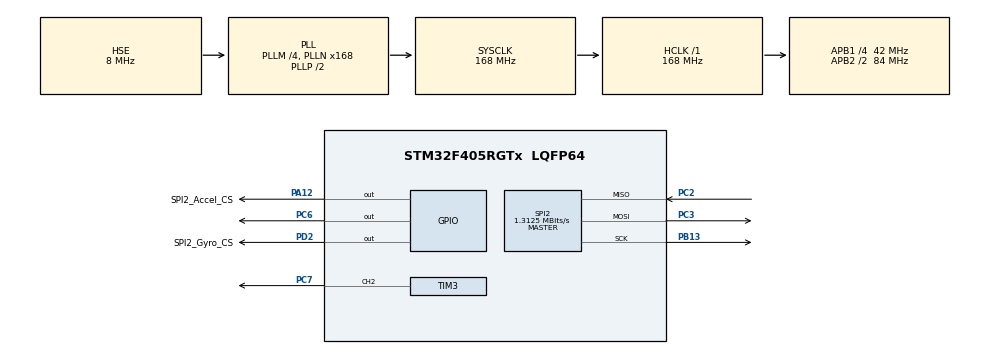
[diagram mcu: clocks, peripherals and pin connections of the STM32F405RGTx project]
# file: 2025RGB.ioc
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Dma.Request0=TIM3_CH2
Dma.Request1=SPI2_RX
Dma.Request2=SPI2_TX
Dma.SPI2_RX.1.Direction=DMA_PERIPH_TO_MEMORY
Dma.SPI2_RX.1.FIFOMode=DMA_FIFOMODE_DISABLE
Dma.SPI2_RX.1.Instance=DMA1_Stream3
Dma.SPI2_RX.1.MemDataAlignment=DMA_MDATAALIGN_BYTE
Dma.SPI2_RX.1.MemInc=DMA_MINC_ENABLE
Dma.SPI2_RX.1.Mode=DMA_NORMAL
Dma.SPI2_RX.1.PeriphDataAlignment=DMA_PDATAALIGN_BYTE
Dma.SPI2_RX.1.PeriphInc=DMA_PINC_DISABLE
Dma.SPI2_RX.1.Priority=DMA_PRIORITY_LOW
Dma.SPI2_TX.2.Direction=DMA_MEMORY_TO_PERIPH
Dma.SPI2_TX.2.FIFOMode=DMA_FIFOMODE_DISABLE
Dma.SPI2_TX.2.Instance=DMA1_Stream4
Dma.SPI2_TX.2.MemDataAlignment=DMA_MDATAALIGN_BYTE
Dma.SPI2_TX.2.MemInc=DMA_MINC_ENABLE
Dma.SPI2_TX.2.Mode=DMA_NORMAL
Dma.SPI2_TX.2.PeriphDataAlignment=DMA_PDATAALIGN_BYTE
Dma.SPI2_TX.2.PeriphInc=DMA_PINC_DISABLE
Dma.SPI2_TX.2.Priority=DMA_PRIORITY_LOW
Dma.TIM3_CH2.0.Direction=DMA_MEMORY_TO_PERIPH
Dma.TIM3_CH2.0.FIFOMode=DMA_FIFOMODE_DISABLE
Dma.TIM3_CH2.0.Instance=DMA1_Stream5
Dma.TIM3_CH2.0.MemDataAlignment=DMA_MDATAALIGN_WORD
Dma.TIM3_CH2.0.MemInc=DMA_MINC_ENABLE
Dma.TIM3_CH2.0.Mode=DMA_NORMAL
Dma.TIM3_CH2.0.PeriphDataAlignment=DMA_PDATAALIGN_WORD
Dma.TIM3_CH2.0.PeriphInc=DMA_PINC_DISABLE
Dma.TIM3_CH2.0.Priority=DMA_PRIORITY_MEDIUM
FREERTOS.Tasks01=defaultTask,24,128,StartDefaultTask,Default,NULL,Dynamic,NULL,NULL;myTask02,24,128,StartTask02,Default,NULL,Dynamic,NULL,NULL
Mcu.Family=STM32F4
Mcu.Name=STM32F405RGTx
Mcu.Package=LQFP64
NVIC.DMA1_Stream3_IRQn=true\:5\:0\:false\:false\:true\:true\:false\:true\:true
NVIC.DMA1_Stream4_IRQn=true\:5\:0\:false\:false\:true\:true\:false\:true\:true
NVIC.DMA1_Stream5_IRQn=true\:5\:0\:false\:false\:true\:true\:false\:true\:true
NVIC.PriorityGroup=NVIC_PRIORITYGROUP_4
NVIC.SPI2_IRQn=true\:5\:0\:false\:false\:true\:true\:true\:true\:true
NVIC.TIM3_IRQn=true\:5\:0\:false\:false\:true\:true\:true\:true\:true
NVIC.TIM8_TRG_COM_TIM14_IRQn=true\:15\:0\:false\:false\:true\:false\:false\:true\:true
NVIC.TimeBase=TIM8_TRG_COM_TIM14_IRQn
NVIC.TimeBaseIP=TIM14
PA12.GPIO_Label=SPI2_Accel_CS
PA12.Signal=GPIO_Output
PA13.Mode=Serial_Wire
PA13.Signal=SYS_JTMS-SWDIO
PA14.Mode=Serial_Wire
PA14.Signal=SYS_JTCK-SWCLK
PB13.Mode=Full_Duplex_Master
PB13.Signal=SPI2_SCK
PC2.Mode=Full_Duplex_Master
PC2.Signal=SPI2_MISO
PC3.Mode=Full_Duplex_Master
PC3.Signal=SPI2_MOSI
PC6.GPIO_Speed=GPIO_SPEED_FREQ_LOW
PC6.Signal=GPIO_Output
PC7.GPIO_PuPd=GPIO_PULLDOWN
PC7.GPIO_Speed=GPIO_SPEED_FREQ_MEDIUM
PC7.Signal=S_TIM3_CH2
PD2.GPIO_Label=SPI2_Gyro_CS
PD2.Signal=GPIO_Output
PH0-OSC_IN.Mode=HSE-External-Oscillator
PH0-OSC_IN.Signal=RCC_OSC_IN
PH1-OSC_OUT.Mode=HSE-External-Oscillator
PH1-OSC_OUT.Signal=RCC_OSC_OUT
ProjectManager.HeapSize=0x200
ProjectManager.StackSize=0x400
ProjectManager.TargetToolchain=MDK-ARM V5.32
RCC.48MHZClocksFreq_Value=84000000
RCC.AHBFreq_Value=168000000
RCC.APB1CLKDivider=RCC_HCLK_DIV4
RCC.APB1Freq_Value=42000000
RCC.APB1TimFreq_Value=84000000
RCC.APB2CLKDivider=RCC_HCLK_DIV2
RCC.APB2Freq_Value=84000000
RCC.APB2TimFreq_Value=168000000
RCC.CortexFreq_Value=168000000
RCC.HCLKFreq_Value=168000000
RCC.HSE_VALUE=8000000
RCC.HSI_VALUE=16000000
RCC.LSE_VALUE=32768
RCC.PLLM=4
RCC.PLLN=168
RCC.PLLSourceVirtual=RCC_PLLSOURCE_HSE
RCC.SYSCLKFreq_VALUE=168000000
RCC.SYSCLKSource=RCC_SYSCLKSOURCE_PLLCLK
RCC.VCOOutputFreq_Value=336000000
SH.S_TIM3_CH2.0=TIM3_CH2,PWM Generation2 CH2
SPI2.BaudRatePrescaler=SPI_BAUDRATEPRESCALER_32
SPI2.CLKPhase=SPI_PHASE_2EDGE
SPI2.CLKPolarity=SPI_POLARITY_HIGH
SPI2.CalculateBaudRate=1.3125 MBits/s
SPI2.Direction=SPI_DIRECTION_2LINES
SPI2.Mode=SPI_MODE_MASTER
SPI2.VirtualType=VM_MASTER
TIM3.Channel-PWM\ Generation2\ CH2=TIM_CHANNEL_2
TIM3.OCMode_PWM-PWM\ Generation2\ CH2=TIM_OCMODE_PWM1
TIM3.OCPolarity_2=TIM_OCPOLARITY_HIGH
TIM3.Period=105-1
VP_FREERTOS_VS_CMSIS_V2.Mode=CMSIS_V2
VP_SYS_VS_tim14.Mode=TIM14
board=custom

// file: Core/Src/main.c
/* USER CODE BEGIN Header */
/**
  ******************************************************************************
  * @file           : main.c
  * @brief          : Main program body
  ******************************************************************************
  * @attention
  *
  * Copyright (c) 2025 STMicroelectronics.
  * All rights reserved.
  *
  * This software is licensed under terms that can be found in the LICENSE file
  * in the root directory of this software component.
  * If no LICENSE file comes with this software, it is provided AS-IS.
  *
  ******************************************************************************
  */
/* USER CODE END Header */
#include "main.h"
#include "cmsis_os.h"
#include "dma.h"
#include "spi.h"
#include "tim.h"
#include "gpio.h"

/* USER CODE BEGIN Includes */
#include "DWT_Delay.h"
/* USER CODE END Includes */

void SystemClock_Config(void);
void MX_FREERTOS_Init(void);

int main(void)
{

  /* MCU Configuration--------------------------------------------------------*/

  /* Reset of all peripherals, Initializes the Flash interface and the Systick. */
  HAL_Init();

  /* Configure the system clock */
  SystemClock_Config();

  /* Initialize all configured peripherals */
  MX_GPIO_Init();
  MX_DMA_Init();
  MX_TIM3_Init();
  MX_SPI2_Init();
  /* USER CODE BEGIN 2 */
	DWT_Init();
  /* USER CODE END 2 */

  /* Init scheduler */
  osKernelInitialize();

  /* Call init function for freertos objects (in cmsis_os2.c) */
  MX_FREERTOS_Init();

  /* Start scheduler */
  osKernelStart();

  /* We should never get here as control is now taken by the scheduler */

  /* Infinite loop */
  while (1)
  {

  }
}

void SystemClock_Config(void)
{
  RCC_OscInitTypeDef RCC_OscInitStruct = {0};
  RCC_ClkInitTypeDef RCC_ClkInitStruct = {0};

  /** Configure the main internal regulator output voltage
  */
  __HAL_RCC_PWR_CLK_ENABLE();
  __HAL_PWR_VOLTAGESCALING_CONFIG(PWR_REGULATOR_VOLTAGE_SCALE1);

  /** Initializes the RCC Oscillators according to the specified parameters
  * in the RCC_OscInitTypeDef structure.
  */
  RCC_OscInitStruct.OscillatorType = RCC_OSCILLATORTYPE_HSE;
  RCC_OscInitStruct.HSEState = RCC_HSE_ON;
  RCC_OscInitStruct.PLL.PLLState = RCC_PLL_ON;
  RCC_OscInitStruct.PLL.PLLSource = RCC_PLLSOURCE_HSE;
  RCC_OscInitStruct.PLL.PLLM = 4;
  RCC_OscInitStruct.PLL.PLLN = 168;
  RCC_OscInitStruct.PLL.PLLP = RCC_PLLP_DIV2;
  RCC_OscInitStruct.PLL.PLLQ = 4;
  if (HAL_RCC_OscConfig(&RCC_OscInitStruct) != HAL_OK)
  {
    Error_Handler();
  }

  /** Initializes the CPU, AHB and APB buses clocks
  */
  RCC_ClkInitStruct.ClockType = RCC_CLOCKTYPE_HCLK|RCC_CLOCKTYPE_SYSCLK
                              |RCC_CLOCKTYPE_PCLK1|RCC_CLOCKTYPE_PCLK2;
  RCC_ClkInitStruct.SYSCLKSource = RCC_SYSCLKSOURCE_PLLCLK;
  RCC_ClkInitStruct.AHBCLKDivider = RCC_SYSCLK_DIV1;
  RCC_ClkInitStruct.APB1CLKDivider = RCC_HCLK_DIV4;
  RCC_ClkInitStruct.APB2CLKDivider = RCC_HCLK_DIV2;

  if (HAL_RCC_ClockConfig(&RCC_ClkInitStruct, FLASH_LATENCY_5) != HAL_OK)
  {
    Error_Handler();
  }
}

void HAL_TIM_PeriodElapsedCallback(TIM_HandleTypeDef *htim)
{
  if (htim->Instance == TIM14)
  {
    HAL_IncTick();
  }
}

void Error_Handler(void)
{
  __disable_irq();
  while (1)
  {
  }
}

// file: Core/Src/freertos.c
/* USER CODE BEGIN Header */
/**
  ******************************************************************************
  * File Name          : freertos.c
  * Description        : Code for freertos applications
  ******************************************************************************
  * @attention
  *
  * Copyright (c) 2025 STMicroelectronics.
  * All rights reserved.
  *
  * This software is licensed under terms that can be found in the LICENSE file
  * in the root directory of this software component.
  * If no LICENSE file comes with this software, it is provided AS-IS.
  *
  ******************************************************************************
  */
/* USER CODE END Header */

#include "FreeRTOS.h"
#include "task.h"
#include "main.h"
#include "cmsis_os.h"

/* USER CODE BEGIN Includes */
#include "DMA_PWM.h"
#include "WS2812.h"
#include "RGB.h"
#include "GPIO_PWM.h"

#include "QuaternionEKF.h"
#include "BMI088driver.h"
#include "MyMahonyAHRS.h"
/* USER CODE END Includes */

/* USER CODE BEGIN PTD */
fp32 gyro[3], accel[3], temp;
float Angle[3];
/* USER CODE END PTD */

/* Definitions for defaultTask */
osThreadId_t defaultTaskHandle;
const osThreadAttr_t defaultTask_attributes = {
  .name = "defaultTask",
  .stack_size = 128 * 4,
  .priority = (osPriority_t) osPriorityNormal,
};
/* Definitions for myTask02 */
osThreadId_t myTask02Handle;
const osThreadAttr_t myTask02_attributes = {
  .name = "myTask02",
  .stack_size = 1280 * 4,
  .priority = (osPriority_t) osPriorityNormal,
};

void StartDefaultTask(void *argument);
void StartTask02(void *argument);

void MX_FREERTOS_Init(void); /* (MISRA C 2004 rule 8.1) */

void MX_FREERTOS_Init(void) {

  /* Create the thread(s) */
  /* creation of defaultTask */
  defaultTaskHandle = osThreadNew(StartDefaultTask, NULL, &defaultTask_attributes);

  /* creation of myTask02 */
  myTask02Handle = osThreadNew(StartTask02, NULL, &myTask02_attributes);

}

void StartDefaultTask(void *argument)
{
  for(;;)
  {
    osDelay(1);
  }
}

void StartTask02(void *argument)
{
  /* USER CODE BEGIN StartTask02 */
  /* Infinite loop */
  const TickType_t xDelay = pdMS_TO_TICKS(5); // 100ms????
  TickType_t xLastWakeTime = xTaskGetTickCount();
   while(BMI088_init()){}
   MyMahony_Init(&MahonyAHRS,200);//

  for(;;)
  {
	  static float DateCal[3]={0.00286022667,-0.00470631896,0.00222213869};
	  static float DateTemp[4];
	  BMI088_read(gyro, accel, &temp);
//	  MyMahony_gyroCal(gyro[0],gyro[1],gyro[2],DateCal,DateTemp,1000);
	  MyMahony_GetAngle(&MahonyAHRS,accel[0],accel[1],
	  accel[2],gyro[0],gyro[1],gyro[2],0,0,0,DateCal,Angle);
	  QuaternionEKFAngle(gyro,accel,0.005,1000);
//		MahonyAngle(accel[0],accel[1],accel[2],gyro[0],gyro[1],gyro[2],Angle);
	  RGB_Task();
	  WS2812_Task();
	  DMAPWM_Task();
//	  GPIOPWM_Task();
    vTaskDelayUntil(&xLastWakeTime, xDelay);

  }
  /* USER CODE END StartTask02 */
}
